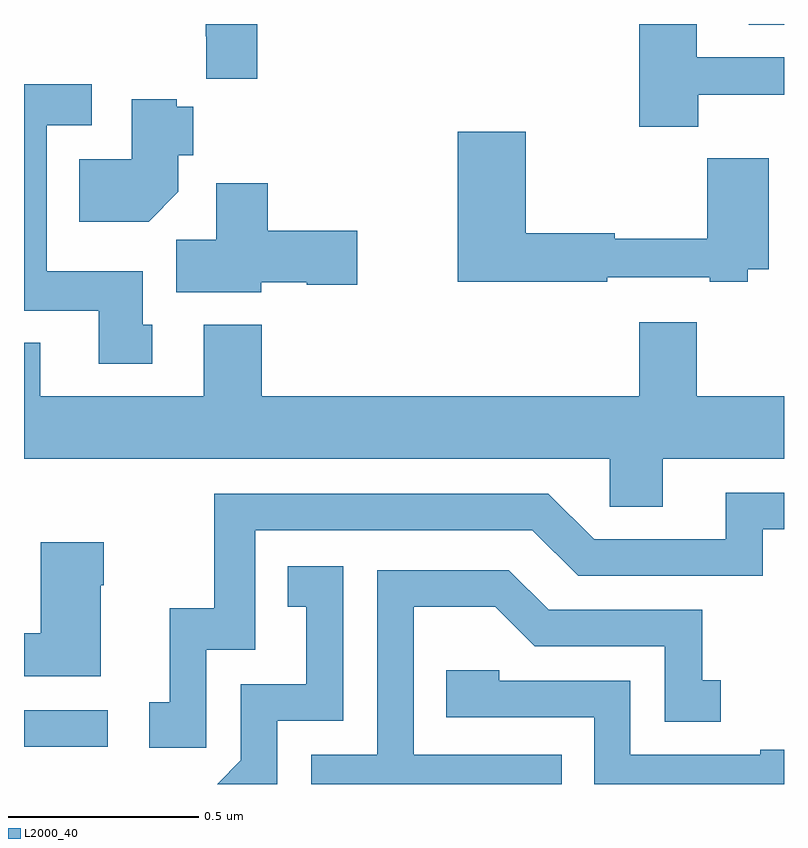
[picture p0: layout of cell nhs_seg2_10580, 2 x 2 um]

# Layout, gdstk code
import gdstk
lib = gdstk.Library(unit=1e-6, precision=1e-09)
def R(c, l, rs):  # rectangles x0, y0, x1, y1
    for r in rs: c.add(gdstk.rectangle(r[:2], r[2:], *l))
def P(c, l, *ps):  # polygons
    for p in ps: c.add(gdstk.Polygon(p, *l))
L2000_40 = (2000, 40)

nhs_seg2_10580 = lib.new_cell('nhs_seg2_10580')
R(nhs_seg2_10580, L2000_40, [(243,626.898,243.22,626.994), (244.907,628.798,245,628.8)])
P(nhs_seg2_10580, L2000_40, [(243.614,628.8),(243.478,628.8),(243.478,628.768),(243.479,628.768),(243.479,628.656),(243.614,628.656)],
  [(244.774,628.614),(245,628.614),(245,628.713),(244.771,628.713),(244.771,628.8),(244.619,628.8),(244.619,628.529),(244.774,628.529)],
  [(243.337,628.008),(243.313,628.008),(243.313,628.15),(243.06,628.15),(243.06,628.533),(243.178,628.533),(243.178,628.642),(243,628.642),(243,628.046),(243.197,628.046),(243.197,627.906),(243.337,627.906)],
  [(243.406,628.358),(243.406,628.454),(243.445,628.454),(243.445,628.582),(243.402,628.582),(243.402,628.602),(243.284,628.602),(243.284,628.444),(243.145,628.444),(243.145,628.28),(243.328,628.28)],
  [(244.535,628.134),(244.805,628.134),(244.805,628.122),(244.905,628.122),(244.905,628.154),(244.96,628.154),(244.96,628.447),(244.798,628.447),(244.798,628.235),(244.554,628.235),(244.554,628.25),(244.32,628.25),(244.32,628.516),(244.142,628.516),(244.142,628.122),(244.535,628.122)],
  [(243.624,628.121),(243.744,628.121),(243.744,628.114),(243.877,628.114),(243.877,628.256),(243.641,628.256),(243.641,628.381),(243.506,628.381),(243.506,628.232),(243.401,628.232),(243.401,628.094),(243.624,628.094)],
  [(244.681,627.656),(245,627.656),(245,627.82),(244.771,627.82),(244.771,628.015),(244.619,628.015),(244.619,627.82),(243.626,627.82),(243.626,628.009),(243.473,628.009),(243.473,627.82),(243.043,627.82),(243.043,627.961),(243,627.961),(243,627.656),(244.542,627.656),(244.542,627.529),(244.681,627.529)],
  [(243.48,627.153),(243.609,627.153),(243.609,627.468),(244.338,627.468),(244.458,627.348),(244.944,627.348),(244.944,627.471),(245,627.471),(245,627.567),(244.847,627.567),(244.847,627.444),(244.5,627.444),(244.38,627.564),(243.501,627.564),(243.501,627.262),(243.383,627.262),(243.383,627.015),(243.33,627.015),(243.33,626.895),(243.48,626.895)],
  [(243.202,627.323),(243.21,627.323),(243.21,627.436),(243.044,627.436),(243.044,627.197),(243,627.197),(243,627.083),(243.202,627.083)],
  [(243.666,626.967),(243.84,626.967),(243.84,627.373),(243.694,627.373),(243.694,627.267),(243.743,627.267),(243.743,627.063),(243.57,627.063),(243.57,626.862),(243.508,626.8),(243.666,626.8)],
  [(244.415,626.877),(244.026,626.877),(244.026,627.266),(244.24,627.266),(244.344,627.162),(244.686,627.162),(244.686,626.964),(244.834,626.964),(244.834,627.073),(244.785,627.073),(244.785,627.258),(244.381,627.258),(244.276,627.363),(243.93,627.363),(243.93,626.877),(243.756,626.877),(243.756,626.8),(244.415,626.8)],
  [(245,626.89),(244.937,626.89),(244.937,626.877),(244.596,626.877),(244.596,627.072),(244.251,627.072),(244.251,627.099),(244.111,627.099),(244.111,626.976),(244.5,626.976),(244.5,626.8),(245,626.8)])

lib.write_gds('nhs_seg2_10580.gds')
